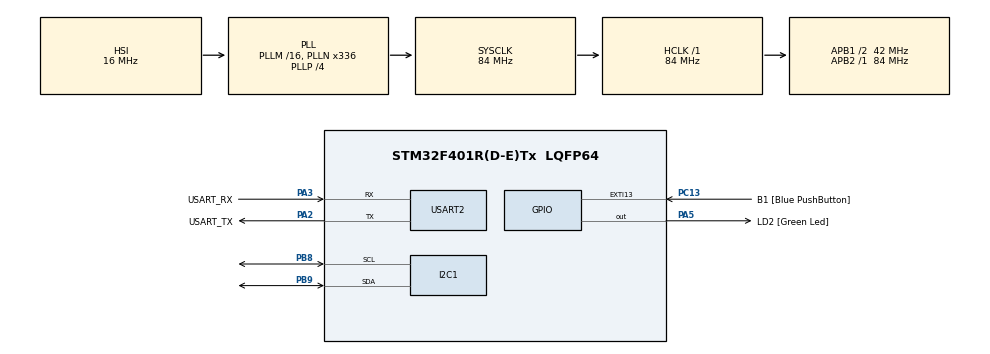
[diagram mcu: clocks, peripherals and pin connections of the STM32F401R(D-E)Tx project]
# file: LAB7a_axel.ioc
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Mcu.Family=STM32F4
Mcu.Name=STM32F401R(D-E)Tx
Mcu.Package=LQFP64
NVIC.PriorityGroup=NVIC_PRIORITYGROUP_0
PA13.GPIO_Label=TMS
PA13.Mode=Serial_Wire
PA13.Signal=SYS_JTMS-SWDIO
PA14.GPIO_Label=TCK
PA14.Mode=Serial_Wire
PA14.Signal=SYS_JTCK-SWCLK
PA2.GPIO_Label=USART_TX
PA2.GPIO_Mode=GPIO_MODE_AF_PP
PA2.GPIO_PuPd=GPIO_NOPULL
PA2.GPIO_Speed=GPIO_SPEED_FREQ_LOW
PA2.Mode=Asynchronous
PA2.Signal=USART2_TX
PA3.GPIO_Label=USART_RX
PA3.GPIO_Mode=GPIO_MODE_AF_PP
PA3.GPIO_PuPd=GPIO_NOPULL
PA3.GPIO_Speed=GPIO_SPEED_FREQ_LOW
PA3.Mode=Asynchronous
PA3.Signal=USART2_RX
PA5.GPIO_Label=LD2 [Green Led]
PA5.GPIO_Mode=GPIO_MODE_OUTPUT_PP
PA5.GPIO_PuPd=GPIO_NOPULL
PA5.GPIO_Speed=GPIO_SPEED_FREQ_LOW
PA5.Signal=GPIO_Output
PB3.GPIO_Label=SWO
PB3.Signal=SYS_JTDO-SWO
PB8.Mode=I2C
PB8.Signal=I2C1_SCL
PB9.Mode=I2C
PB9.Signal=I2C1_SDA
PC13-ANTI_TAMP.GPIO_Label=B1 [Blue PushButton]
PC13-ANTI_TAMP.GPIO_ModeDefaultEXTI=GPIO_MODE_IT_FALLING
PC13-ANTI_TAMP.GPIO_PuPd=GPIO_NOPULL
PC13-ANTI_TAMP.Signal=GPXTI13
PC14-OSC32_IN.Mode=LSE-External-Oscillator
PC14-OSC32_IN.Signal=RCC_OSC32_IN
PC15-OSC32_OUT.Mode=LSE-External-Oscillator
PC15-OSC32_OUT.Signal=RCC_OSC32_OUT
PH0\ -\ OSC_IN.Mode=HSE-External-Clock-Source
PH0\ -\ OSC_IN.Signal=RCC_OSC_IN
PH1\ -\ OSC_OUT.Mode=HSE-External-Clock-Source
PH1\ -\ OSC_OUT.Signal=RCC_OSC_OUT
ProjectManager.HeapSize=0x200
ProjectManager.StackSize=0x400
ProjectManager.TargetToolchain=STM32CubeIDE
RCC.48MHZClocksFreq_Value=48000000
RCC.AHBFreq_Value=84000000
RCC.APB1CLKDivider=RCC_HCLK_DIV2
RCC.APB1Freq_Value=42000000
RCC.APB1TimFreq_Value=84000000
RCC.APB2Freq_Value=84000000
RCC.APB2TimFreq_Value=84000000
RCC.CortexFreq_Value=84000000
RCC.HCLKFreq_Value=84000000
RCC.HSE_VALUE=8000000
RCC.HSI_VALUE=16000000
RCC.PLLN=336
RCC.PLLP=RCC_PLLP_DIV4
RCC.PLLQ=7
RCC.SYSCLKFreq_VALUE=84000000
RCC.SYSCLKSource=RCC_SYSCLKSOURCE_PLLCLK
RCC.VCOOutputFreq_Value=336000000
USART2.VirtualMode=VM_ASYNC
board=NUCLEO-F401RE

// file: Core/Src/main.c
/* USER CODE BEGIN Header */
/**
  ******************************************************************************
  * @file           : main.c
  * @brief          : Main program body
  ******************************************************************************
  * @attention
  *
  * <h2><center>&copy; Copyright (c) 2021 STMicroelectronics.
  * All rights reserved.</center></h2>
  *
  * This software component is licensed by ST under BSD 3-Clause license,
  * the "License"; You may not use this file except in compliance with the
  * License. You may obtain a copy of the License at:
  *                        opensource.org/licenses/BSD-3-Clause
  *
  ******************************************************************************
  */
/* USER CODE END Header */
#include "main.h"

/* USER CODE BEGIN Includes */
#include "stdio.h"
#include "LIS2DE.h"

/* USER CODE END Includes */

I2C_HandleTypeDef hi2c1;

UART_HandleTypeDef huart2;

/* USER CODE BEGIN PV */
uint8_t LIS2DE_axel_addr_read = 0;
uint8_t LIS2DE_axel_addr_write = 0;

/* USER CODE END PV */

void SystemClock_Config(void);
static void MX_GPIO_Init(void);
static void MX_USART2_UART_Init(void);
static void MX_I2C1_Init(void);

int main(void)
{

  /* MCU Configuration--------------------------------------------------------*/

  /* Reset of all peripherals, Initializes the Flash interface and the Systick. */
  HAL_Init();

  /* Configure the system clock */
  SystemClock_Config();

  /* Initialize all configured peripherals */
  MX_GPIO_Init();
  MX_USART2_UART_Init();
  MX_I2C1_Init();
  /* USER CODE BEGIN 2 */
  HAL_I2C_Init(&hi2c1);

  {
	 char message[100];
	 int message_length = snprintf(message,100,"LIS2DE DEMO START\r\n");
	 HAL_UART_Transmit(&huart2, (uint8_t *)message, message_length,100);
  }
  // auto-addr
if(HAL_I2C_Master_Transmit(&hi2c1, LIS2DE_ADDR_READ, 0, 1, 100) == HAL_OK){

	 char message[100];
	 int message_length = snprintf(message,100,"LIS2DE FOUND\r\n");
	 HAL_UART_Transmit(&huart2, (uint8_t *)message, message_length, 100);

	 LIS2DE_axel_addr_read  = LIS2DE_ADDR_READ;
	 LIS2DE_axel_addr_write = LIS2DE_ADDR_WRITE;

}
else if(HAL_I2C_Master_Transmit(&hi2c1, LIS2DE12_ADDR_READ, 0, 1, 100) == HAL_OK){

	 char message[100];
	 int message_length = snprintf(message,100,"LIS2DE12 FOUND\r\n");
	 HAL_UART_Transmit(&huart2, (uint8_t *)message, message_length, 100);

	 LIS2DE_axel_addr_read  = LIS2DE12_ADDR_READ;
	 LIS2DE_axel_addr_write = LIS2DE12_ADDR_WRITE;

}
else{
	 char message[100];
	 int message_length = snprintf(message,100,"NO LIS2DE FOUND\r\n");
	 HAL_UART_Transmit(&huart2, (uint8_t *)message, message_length, 100);
	 Error_Handler();
}

  uint8_t CTRL_DATA[2];
  CTRL_DATA[0] = LIS2DE_CTRL_REG1;
  CTRL_DATA[1] = 0b00011111;

  if(HAL_I2C_Master_Transmit(&hi2c1, LIS2DE_axel_addr_write, CTRL_DATA, 2, 100) == HAL_OK){

		 char message[100];
		 int message_length = snprintf(message,100,"LIS2DE OK: CTRL REG1\r\n");
		 HAL_UART_Transmit(&huart2, (uint8_t *)message, message_length, 100);

  }
  else{
		 char message[100];
		 int message_length = snprintf(message,100,"LIS2DE ERROR: CTRL REG 1\r\n");
		 HAL_UART_Transmit(&huart2, (uint8_t *)message, message_length, 100);

  }

  /* USER CODE END 2 */

  /* Infinite loop */
  /* USER CODE BEGIN WHILE */
  while (1)
  {
	  int8_t x_val, y_val, z_val;
	  uint8_t CTRL_DATA;
	  char message[100];

	  CTRL_DATA = LIS2DE_OUT_X_H;
	  if(HAL_I2C_Master_Transmit(&hi2c1, LIS2DE_axel_addr_write, &CTRL_DATA, 1, 100) != HAL_OK){
		  Error_Handler();
	  }

	 if(HAL_I2C_Master_Receive(&hi2c1, LIS2DE_axel_addr_read, (uint8_t*) &x_val, 1, 100) != HAL_OK){
		  Error_Handler();
	  }

	  CTRL_DATA = LIS2DE_OUT_Y_H;
	  if(HAL_I2C_Master_Transmit(&hi2c1, LIS2DE_axel_addr_write, &CTRL_DATA, 1, 100) != HAL_OK){
		  Error_Handler();
	  }

	 if(HAL_I2C_Master_Receive(&hi2c1, LIS2DE_axel_addr_read, (uint8_t*) &y_val, 1, 100) != HAL_OK){
		  Error_Handler();
	  }

	  CTRL_DATA = LIS2DE_OUT_Z_H;
	  if(HAL_I2C_Master_Transmit(&hi2c1, LIS2DE_axel_addr_write, &CTRL_DATA, 1, 100) != HAL_OK){
		  Error_Handler();
	  }

	 if(HAL_I2C_Master_Receive(&hi2c1, LIS2DE_axel_addr_read, (uint8_t*) &z_val, 1, 100) != HAL_OK){
		  Error_Handler();
	  }

	  int message_length = snprintf(message,100,"X: %+.2f\r\nY: %+.2f\r\nZ: %+.2f\r\n\r\n",x_val/64.0, y_val/64.0, z_val/64.0);

	  HAL_UART_Transmit(&huart2, (uint8_t *)message, message_length, 100);

	  HAL_Delay(2000);
    /* USER CODE END WHILE */

  }
}

void SystemClock_Config(void)
{
  RCC_OscInitTypeDef RCC_OscInitStruct = {0};
  RCC_ClkInitTypeDef RCC_ClkInitStruct = {0};

  /** Configure the main internal regulator output voltage
  */
  __HAL_RCC_PWR_CLK_ENABLE();
  __HAL_PWR_VOLTAGESCALING_CONFIG(PWR_REGULATOR_VOLTAGE_SCALE2);
  /** Initializes the RCC Oscillators according to the specified parameters
  * in the RCC_OscInitTypeDef structure.
  */
  RCC_OscInitStruct.OscillatorType = RCC_OSCILLATORTYPE_HSI;
  RCC_OscInitStruct.HSIState = RCC_HSI_ON;
  RCC_OscInitStruct.HSICalibrationValue = RCC_HSICALIBRATION_DEFAULT;
  RCC_OscInitStruct.PLL.PLLState = RCC_PLL_ON;
  RCC_OscInitStruct.PLL.PLLSource = RCC_PLLSOURCE_HSI;
  RCC_OscInitStruct.PLL.PLLM = 16;
  RCC_OscInitStruct.PLL.PLLN = 336;
  RCC_OscInitStruct.PLL.PLLP = RCC_PLLP_DIV4;
  RCC_OscInitStruct.PLL.PLLQ = 7;
  if (HAL_RCC_OscConfig(&RCC_OscInitStruct) != HAL_OK)
  {
    Error_Handler();
  }
  /** Initializes the CPU, AHB and APB buses clocks
  */
  RCC_ClkInitStruct.ClockType = RCC_CLOCKTYPE_HCLK|RCC_CLOCKTYPE_SYSCLK
                              |RCC_CLOCKTYPE_PCLK1|RCC_CLOCKTYPE_PCLK2;
  RCC_ClkInitStruct.SYSCLKSource = RCC_SYSCLKSOURCE_PLLCLK;
  RCC_ClkInitStruct.AHBCLKDivider = RCC_SYSCLK_DIV1;
  RCC_ClkInitStruct.APB1CLKDivider = RCC_HCLK_DIV2;
  RCC_ClkInitStruct.APB2CLKDivider = RCC_HCLK_DIV1;

  if (HAL_RCC_ClockConfig(&RCC_ClkInitStruct, FLASH_LATENCY_2) != HAL_OK)
  {
    Error_Handler();
  }
}

static void MX_I2C1_Init(void)
{

  hi2c1.Instance = I2C1;
  hi2c1.Init.ClockSpeed = 100000;
  hi2c1.Init.DutyCycle = I2C_DUTYCYCLE_2;
  hi2c1.Init.OwnAddress1 = 0;
  hi2c1.Init.AddressingMode = I2C_ADDRESSINGMODE_7BIT;
  hi2c1.Init.DualAddressMode = I2C_DUALADDRESS_DISABLE;
  hi2c1.Init.OwnAddress2 = 0;
  hi2c1.Init.GeneralCallMode = I2C_GENERALCALL_DISABLE;
  hi2c1.Init.NoStretchMode = I2C_NOSTRETCH_DISABLE;
  if (HAL_I2C_Init(&hi2c1) != HAL_OK)
  {
    Error_Handler();
  }

}

static void MX_USART2_UART_Init(void)
{

  huart2.Instance = USART2;
  huart2.Init.BaudRate = 115200;
  huart2.Init.WordLength = UART_WORDLENGTH_8B;
  huart2.Init.StopBits = UART_STOPBITS_1;
  huart2.Init.Parity = UART_PARITY_NONE;
  huart2.Init.Mode = UART_MODE_TX_RX;
  huart2.Init.HwFlowCtl = UART_HWCONTROL_NONE;
  huart2.Init.OverSampling = UART_OVERSAMPLING_16;
  if (HAL_UART_Init(&huart2) != HAL_OK)
  {
    Error_Handler();
  }

}

static void MX_GPIO_Init(void)
{
  GPIO_InitTypeDef GPIO_InitStruct = {0};

  /* GPIO Ports Clock Enable */
  __HAL_RCC_GPIOC_CLK_ENABLE();
  __HAL_RCC_GPIOH_CLK_ENABLE();
  __HAL_RCC_GPIOA_CLK_ENABLE();
  __HAL_RCC_GPIOB_CLK_ENABLE();

  /*Configure GPIO pin Output Level */
  HAL_GPIO_WritePin(LD2_GPIO_Port, LD2_Pin, GPIO_PIN_RESET);

  /*Configure GPIO pin : B1_Pin */
  GPIO_InitStruct.Pin = B1_Pin;
  GPIO_InitStruct.Mode = GPIO_MODE_IT_FALLING;
  GPIO_InitStruct.Pull = GPIO_NOPULL;
  HAL_GPIO_Init(B1_GPIO_Port, &GPIO_InitStruct);

  /*Configure GPIO pin : LD2_Pin */
  GPIO_InitStruct.Pin = LD2_Pin;
  GPIO_InitStruct.Mode = GPIO_MODE_OUTPUT_PP;
  GPIO_InitStruct.Pull = GPIO_NOPULL;
  GPIO_InitStruct.Speed = GPIO_SPEED_FREQ_LOW;
  HAL_GPIO_Init(LD2_GPIO_Port, &GPIO_InitStruct);

}

void Error_Handler(void)
{
  __disable_irq();
  while (1)
  {
  }
}

/************************ (C) COPYRIGHT STMicroelectronics *****END OF FILE****/
